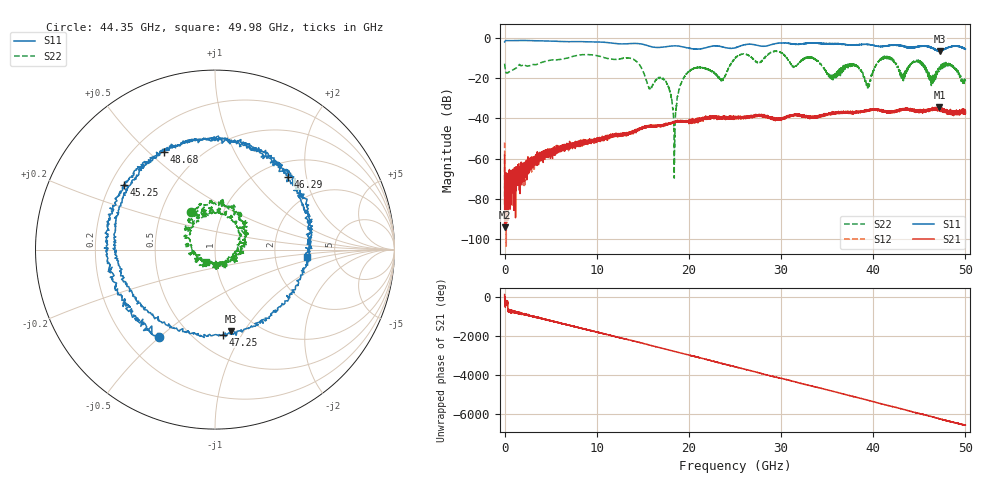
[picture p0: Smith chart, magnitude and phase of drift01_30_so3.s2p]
!Created with skrf (http://scikit-rf.org).
# Hz S RI R 50.0
!freq ReS11 ImS11 ReS21 ImS21 ReS12 ImS12 ReS22 ImS22
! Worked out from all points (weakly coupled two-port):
!   10001 points, 300 kHz to 50 GHz, reference 50 ohm
!   highest |S21| = -34.35 dB at 47.19 GHz (marker M1); lowest = -94.0 dB at 10.3 MHz (marker M2)
!   lowest |S11| = -6.7 dB at 47.21 GHz (marker M3), VSWR 2.71, Z = 38 - j43.7 ohm
!   |S11| at or under -10 dB: nowhere
!   |S22| runs from -69.6 to -6.7 dB; largest |S21 - S12| = 0.0035
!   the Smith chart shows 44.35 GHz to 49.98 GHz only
!   S11 on the Smith chart (normalised r, x): 44.35 GHz: 0.34, -0.50; 45.25 GHz: 0.26, +0.30; 46.29 GHz: 1.30, +1.58; 47.25 GHz: 0.68, -0.83; 48.68 GHz: 0.32, +0.56; 49.98 GHz: 3.06, -0.35
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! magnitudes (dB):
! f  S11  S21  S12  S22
! 300 kHz  -2.1  -58.3  -52.0  -12.9
! 10.3 MHz  -2.1  -94.0  -83.6  -13.5
! 255.3 MHz  -1.4  -70.0  -70.7  -17.5
! 8.335 GHz  -1.9  -51.5  -52.4  -8.5
! 16.67 GHz  -4.8  -43.5  -43.7  -19.9
! 17.74 GHz  -4.3  -42.7  -42.9  -24.0
! 18.44 GHz  -4.1  -42.0  -41.9  -57.2
! 19.91 GHz  -5.1  -41.8  -41.4  -17.2
! 23.6 GHz  -4.5  -39.4  -39.7  -20.7
! 25 GHz  -5.0  -39.9  -39.8  -10.4
! 33.34 GHz  -2.6  -39.2  -39.1  -10.0
! 39.43 GHz  -3.4  -36.2  -36.1  -25.1
! 41.67 GHz  -3.9  -36.6  -37.0  -9.7
! 44.35 GHz  -4.7  -36.2  -36.1  -12.0
! 45.25 GHz  -4.1  -36.5  -36.4  -12.5
! 46.29 GHz  -4.8  -35.9  -35.8  -20.5
! 47.19 GHz  -6.2  -34.3  -35.4  -14.5
! 47.21 GHz  -6.7  -36.4  -35.7  -14.9
! 47.25 GHz  -6.5  -34.8  -35.5  -15.8
! 48.68 GHz  -4.3  -36.5  -37.2  -14.2
! 49.98 GHz  -5.8  -37.0  -36.2  -21.3
! 50 GHz  -5.7  -36.3  -36.3  -21.6
